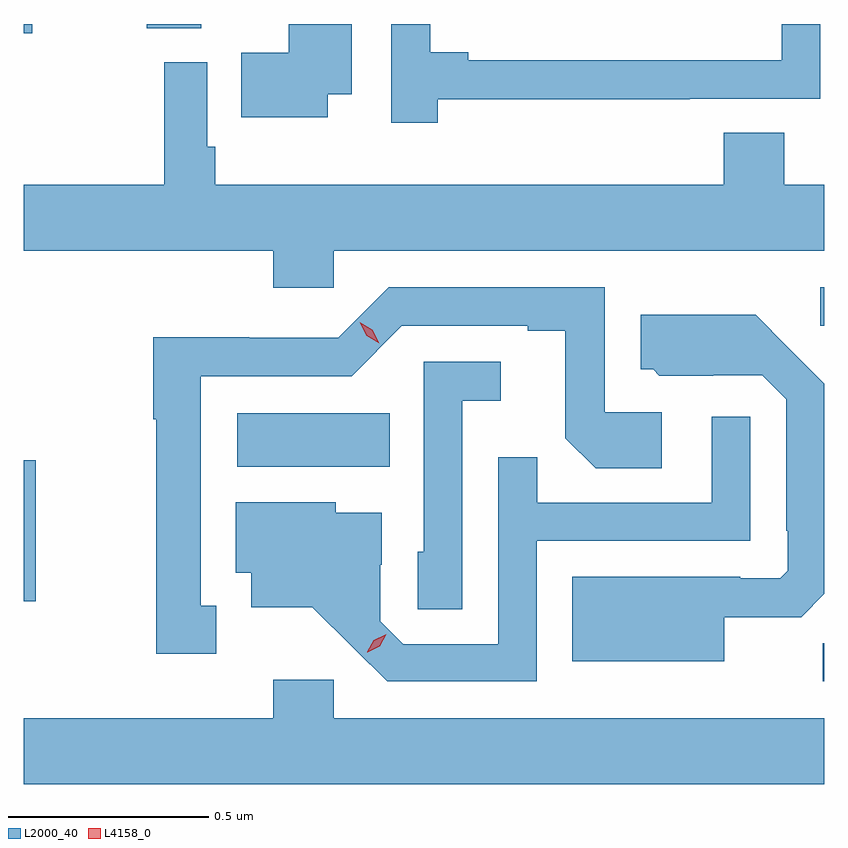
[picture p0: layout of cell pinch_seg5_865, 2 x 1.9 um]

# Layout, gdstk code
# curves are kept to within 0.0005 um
import gdstk
lib = gdstk.Library(unit=1e-6, precision=1e-09)
def R(c, l, rs):  # rectangles x0, y0, x1, y1
    for r in rs: c.add(gdstk.rectangle(r[:2], r[2:], *l))
def P(c, l, *ps):  # polygons
    for p in ps: c.add(gdstk.Polygon(p, *l))
L2000_40 = (2000, 40)
L4158_0 = (4158, 0)

pinch_seg5_865 = lib.new_cell('pinch_seg5_865')
R(pinch_seg5_865, L2000_40, [(803.728,892.98,803.732,893.075), (801.732,893.181,801.762,893.533), (802.266,893.516,802.646,893.65), (803.721,893.868,803.732,893.964), (801.732,894.599,801.754,894.622), (802.04,894.611,802.176,894.622)])
P(pinch_seg5_865, L2000_40, [(802.766,894.434),(803.396,894.434),(803.396,894.435),(803.721,894.435),(803.721,894.622),(803.625,894.622),(803.625,894.531),(802.843,894.531),(802.843,894.551),(802.748,894.551),(802.748,894.622),(802.65,894.622),(802.65,894.375),(802.766,894.375)],
  [(802.492,894.446),(802.552,894.446),(802.552,894.622),(802.394,894.622),(802.394,894.55),(802.276,894.55),(802.276,894.389),(802.492,894.389)],
  [(802.506,894.056),(803.732,894.056),(803.732,894.22),(803.632,894.22),(803.632,894.35),(803.48,894.35),(803.48,894.22),(802.211,894.22),(802.211,894.316),(802.191,894.316),(802.191,894.526),(802.083,894.526),(802.083,894.22),(801.732,894.22),(801.732,894.056),(802.355,894.056),(802.355,893.963),(802.506,893.963)],
  [(802.213,893.169),(802.174,893.169),(802.174,893.742),(802.551,893.742),(802.677,893.868),(802.991,893.868),(802.991,893.856),(803.085,893.856),(803.085,893.588),(803.161,893.512),(803.326,893.512),(803.326,893.652),(803.184,893.652),(803.184,893.964),(802.644,893.964),(802.518,893.838),(802.296,893.838),(802.296,893.84),(802.056,893.84),(802.056,893.635),(802.063,893.635),(802.063,893.049),(802.213,893.049)],
  [(803.482,893.141),(803.674,893.141),(803.732,893.199),(803.732,893.723),(803.561,893.896),(803.273,893.896),(803.273,893.76),(803.304,893.76),(803.32,893.744),(803.454,893.744),(803.454,893.745),(803.577,893.745),(803.637,893.685),(803.637,893.356),(803.64,893.356),(803.64,893.256),(803.622,893.238),(803.522,893.238),(803.522,893.242),(803.102,893.242),(803.102,893.03),(803.482,893.03)],
  [(802.827,893.681),(802.924,893.681),(802.924,893.778),(802.731,893.778),(802.731,893.304),(802.716,893.304),(802.716,893.161),(802.827,893.161)],
  [(803.013,893.331),(803.547,893.331),(803.547,893.641),(803.451,893.641),(803.451,893.427),(803.015,893.427),(803.015,893.54),(802.917,893.54),(802.917,893.073),(802.68,893.073),(802.623,893.13),(802.623,893.272),(802.627,893.272),(802.627,893.401),(802.512,893.401),(802.512,893.428),(802.262,893.428),(802.262,893.252),(802.301,893.252),(802.301,893.165),(802.453,893.165),(802.64,892.98),(803.013,892.98)],
  [(803.732,892.888),(802.506,892.888),(802.506,892.984),(802.355,892.984),(802.355,892.888),(801.732,892.888),(801.732,892.724),(803.732,892.724)])
P(pinch_seg5_865, L4158_0, [(802.59,893.053),(802.59,893.054),(802.607,893.083),(802.638,893.098),(802.638,893.098),(802.638,893.098),(802.621,893.068),(802.591,893.053)],
  [(802.62,893.825),(802.589,893.844),(802.571,893.877),(802.571,893.877),(802.572,893.877),(802.603,893.858),(802.62,893.825),(802.62,893.825)])

lib.write_gds('pinch_seg5_865.gds')
